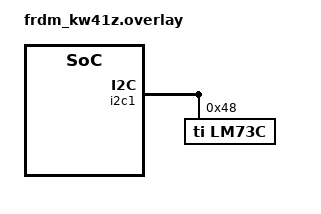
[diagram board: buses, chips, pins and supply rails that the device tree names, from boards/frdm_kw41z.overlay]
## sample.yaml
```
sample:
  name: LM73C I2C Temperature Sensor
tests:
  sample.sensor.lm73c:
    harness: sensor
    tags: sensors
    depends_on: i2c
    filter: dt_compat_enabled("ti,lm73c")
```

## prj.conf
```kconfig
CONFIG_STDOUT_CONSOLE=y
CONFIG_I2C=y
CONFIG_GPIO=y
CONFIG_SENSOR=y
CONFIG_LM73C=y
CONFIG_CBPRINTF_FP_SUPPORT=y
```

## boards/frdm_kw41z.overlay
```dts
/*
 * Copyright (c) 2020, SER Consulting LLC / Steven Riedl
 *
 * SPDX-License-Identifier: Apache-2.0
 */

&i2c1 {
	lm73c@48 {
		compatible = "ti,lm73c";
		reg = <0x48>;
		label = "LM73C";
	};
};
```

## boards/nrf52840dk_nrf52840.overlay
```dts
/*
 * Copyright (c) 2020, Nordic Semiconductor ASA
 *
 * SPDX-License-Identifier: Apache-2.0
 */

&i2c0 {
	lm73c@48 {
		compatible = "ti,lm73c";
		reg = <0x48>;
		label = "LM73C";
	};
};
```

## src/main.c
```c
/*
 * Copyright (c) 2020 SER Consulting LLC
 *
 * SPDX-License-Identifier: Apache-2.0
 */

#include <zephyr.h>
#include <device.h>
#include <init.h>
#include <stdio.h>
#include <devicetree.h>
#include <drivers/sensor.h>
#include <drivers/gpio.h>
#include <sys/util.h>
#include <sys/printk.h>
#include <inttypes.h>

#define LM73C DT_INST(0, ti_lm73c)

#if DT_NODE_HAS_STATUS(LM73C, okay)
#define LM73C_LABEL DT_LABEL(LM73C)
#else
#error Your devicetree has no enabled nodes with compatible "ti_lm73c"
#define LM73C_LABEL "<none>"
#endif

void main(void)
{
	const struct device *lm73c = device_get_binding(LM73C_LABEL);
	bool flm73c = false;

	if (lm73c == NULL) {
		printk("No device \"%s\" found; did initialization fail?\n",
		       LM73C_LABEL);
		return;
	}
	printk("Found device \"%s\"\n", LM73C_LABEL);
	flm73c = true;
	int ret;

	while (1) {
		if (flm73c) {
			ret = sensor_sample_fetch(lm73c);
			if (ret < 0) {
				printk("LM73C fetch error %d\n", ret);
			} else {
				struct sensor_value ttemp;

				sensor_channel_get(lm73c,
					SENSOR_CHAN_AMBIENT_TEMP, &ttemp);
#ifdef CONFIG_CBPRINTF_FP_SUPPORT
				printf("Temperature: %.5f C\n",
					sensor_value_to_double(&ttemp));
#else
				printk("Temperature: %d\n", ttemp.val1);
#endif
			}
		}
		k_sleep(K_MSEC(10000));
	}
}
```
